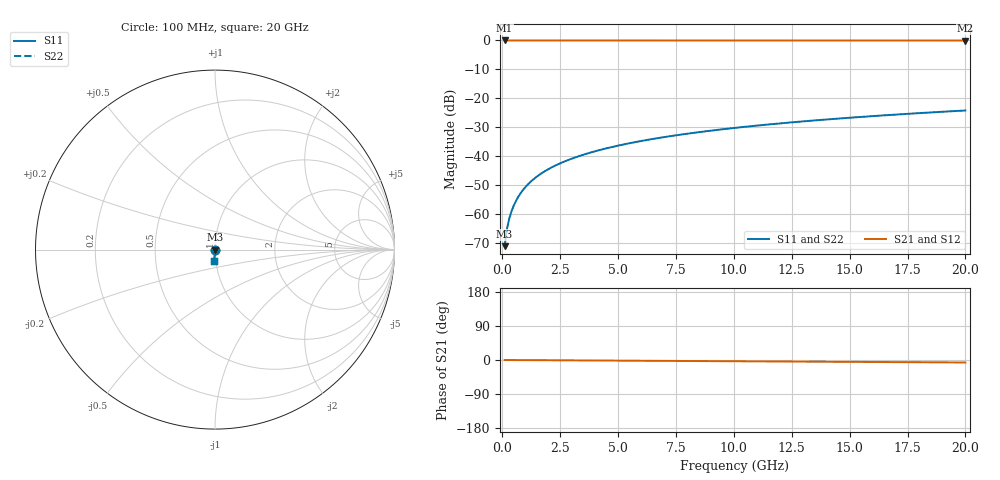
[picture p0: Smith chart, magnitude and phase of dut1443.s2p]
! Touchstone file exported from HFSS 2026.1.0
!  File:  C:/ffzhzh/LocalFiles/Ansys_Project_Files/temp_train_TSV_1443_1783197734_18472.aedt
!  Generated:  04:43:35 AM Jul  5, 2026
!  Design:  TSV
!  Project:  temp_train_TSV_1443_1783197734_18472
! Variables:
!  h_bsmrdl = 2um
!  h_ox = 20um
!  h_rdl = 5um
!  h_sub = 55.85um
!  h_tmrdl = 5um
!  h_tsv = 55.85um
!  h_via = 3um
!  l_bsmrdl = 300um
!  l_sub = 429.84um
!  l_tmrdl = 200um
!  m_sub = 200um
!  pitch = 38.15um
!  r_tsv = 14.92um
!  s_tmrdl = 10um
!  w_bsmrdl = 18um
!  w_sub = 500um
!  w_tmrdl = 12um
!  x_tsv_center1 = 206um
!  x_tsv_center2 = 524um
!  x_tsv_center3 = 736um
!  x_tsv_center4 = 1054um
!  x_tsv_center5 = 1266um
!  x_tsv_center6 = 1584um
# GHz S MA R 50.000000
! Terminal data exported
! Port[1] = TSV1_1_T1
! Port[2] = TSV1_1_T2
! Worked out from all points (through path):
!   200 points, 100 MHz to 20 GHz, reference 50 ohm
!   highest |S21| = 0.00 dB at 100 MHz (marker M1); lowest = 0.0 dB at 20 GHz (marker M2)
!   lowest |S11| = -71.0 dB at 100 MHz (marker M3), VSWR 1.00, Z = 50 - j0.0274 ohm
!   |S11| at or under -10 dB: start of sweep to end of sweep
!   |S22| runs from -71.0 to -24.2 dB; largest |S21 - S12| = 2e-15
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0.1  0.0002808 -77.0  0.9999 -0.0  0.9999 -0.0  0.0002808 -77.0
! Gamma 0 0 0 0
! Port Impedance 50 0 50 0
0.2  0.000556 -82.2  0.9999 -0.1  0.9999 -0.1  0.000556 -82.2
0.3  0.0008392 -83.6  0.9999 -0.1  0.9999 -0.1  0.0008392 -83.6
0.4  0.00113 -84.3  0.9999 -0.1  0.9999 -0.1  0.00113 -84.3
0.5  0.001426 -84.7  0.9999 -0.2  0.9999 -0.2  0.001426 -84.7
0.7  0.00203 -85.4  0.9998 -0.2  0.9998 -0.2  0.00203 -85.4
0.8  0.002336 -85.7  0.9998 -0.3  0.9998 -0.3  0.002336 -85.7
1  0.00295 -86.2  0.9998 -0.3  0.9998 -0.3  0.00295 -86.2
1.2  0.003566 -86.7  0.9998 -0.4  0.9998 -0.4  0.003566 -86.7
1.4  0.004183 -87.1  0.9997 -0.5  0.9997 -0.5  0.004183 -87.1
1.7  0.005107 -87.5  0.9997 -0.6  0.9997 -0.6  0.005107 -87.5
2  0.006031 -87.9  0.9997 -0.7  0.9997 -0.7  0.006031 -87.9
2.7  0.008185 -88.6  0.9996 -0.9  0.9996 -0.9  0.008185 -88.6
3.5  0.01065 -89.2  0.9996 -1.2  0.9996 -1.2  0.01065 -89.2
4.2  0.01281 -89.6  0.9995 -1.4  0.9995 -1.4  0.01281 -89.6
5  0.01529 -90.0  0.9994 -1.6  0.9994 -1.6  0.01529 -90.0
6.8  0.02087 -90.8  0.9993 -2.2  0.9993 -2.2  0.02087 -90.8
8.3  0.02553 -91.4  0.9991 -2.7  0.9991 -2.7  0.02553 -91.4
10.1  0.03112 -92.2  0.9989 -3.3  0.9989 -3.3  0.03112 -92.2
13.4  0.04137 -93.4  0.9984 -4.4  0.9984 -4.4  0.04137 -93.4
16.7  0.05161 -94.6  0.9979 -5.5  0.9979 -5.5  0.05161 -94.6
20  0.06184 -95.7  0.9972 -6.5  0.9972 -6.5  0.06184 -95.7
